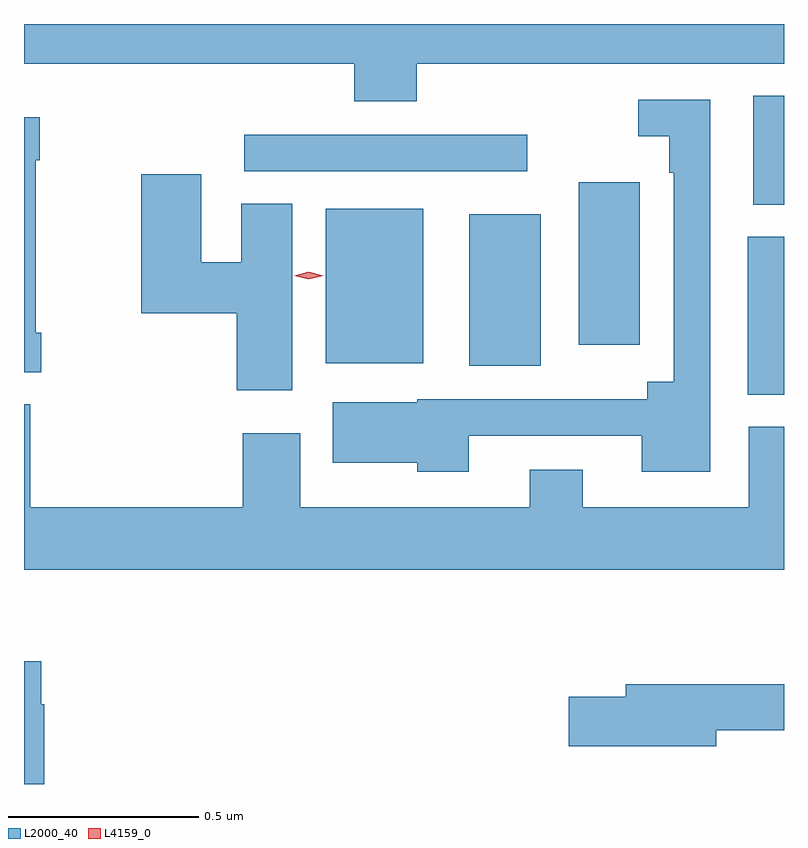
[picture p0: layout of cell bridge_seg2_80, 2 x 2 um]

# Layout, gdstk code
import gdstk
lib = gdstk.Library(unit=1e-6, precision=1e-09)
def R(c, l, rs):  # rectangles x0, y0, x1, y1
    for r in rs: c.add(gdstk.rectangle(r[:2], r[2:], *l))
def P(c, l, *ps):  # polygons
    for p in ps: c.add(gdstk.Polygon(p, *l))
L2000_40 = (2000, 40)
L4159_0 = (4159, 0)

bridge_seg2_80 = lib.new_cell('bridge_seg2_80')
R(bridge_seg2_80, L2000_40, [(336.302,600.145,336.398,600.56), (335.57,600.221,335.758,600.619), (335.192,600.227,335.449,600.634), (335.858,600.276,336.019,600.703), (336.317,600.645,336.398,600.931), (334.977,600.732,335.722,600.828)])
P(bridge_seg2_80, L2000_40, [(335.432,601.016),(336.398,601.016),(336.398,601.12),(334.398,601.12),(334.398,601.016),(335.267,601.016),(335.267,600.917),(335.432,600.917)],
  [(335.569,600.036),(336.023,600.036),(336.023,599.942),(336.204,599.942),(336.204,600.921),(336.015,600.921),(336.015,600.825),(336.096,600.825),(336.096,600.728),(336.108,600.728),(336.108,600.178),(336.038,600.178),(336.038,600.132),(335.433,600.132),(335.433,600.124),(335.21,600.124),(335.21,599.966),(335.433,599.966),(335.433,599.942),(335.569,599.942)],
  [(334.444,600.307),(334.429,600.307),(334.429,600.761),(334.439,600.761),(334.439,600.874),(334.398,600.874),(334.398,600.204),(334.444,600.204)],
  [(335.104,600.647),(334.97,600.647),(334.97,600.493),(334.864,600.493),(334.864,600.724),(334.706,600.724),(334.706,600.359),(334.958,600.359),(334.958,600.156),(335.104,600.156)],
  [(336.398,600.06),(336.305,600.06),(336.305,599.848),(335.869,599.848),(335.869,599.947),(335.729,599.947),(335.729,599.848),(335.125,599.848),(335.125,600.043),(334.973,600.043),(334.973,599.848),(334.414,599.848),(334.414,600.119),(334.398,600.119),(334.398,599.684),(336.398,599.684)],
  [(334.451,599.33),(334.444,599.33),(334.444,599.443),(334.398,599.443),(334.398,599.12),(334.451,599.12)],
  [(336.22,599.262),(336.398,599.262),(336.398,599.383),(335.981,599.383),(335.981,599.349),(335.832,599.349),(335.832,599.219),(336.22,599.219)])
P(bridge_seg2_80, L4159_0, [(335.147,600.448),(335.109,600.457),(335.108,600.458),(335.109,600.458),(335.147,600.468),(335.185,600.458),(335.185,600.458),(335.185,600.457)])

lib.write_gds('bridge_seg2_80.gds')
